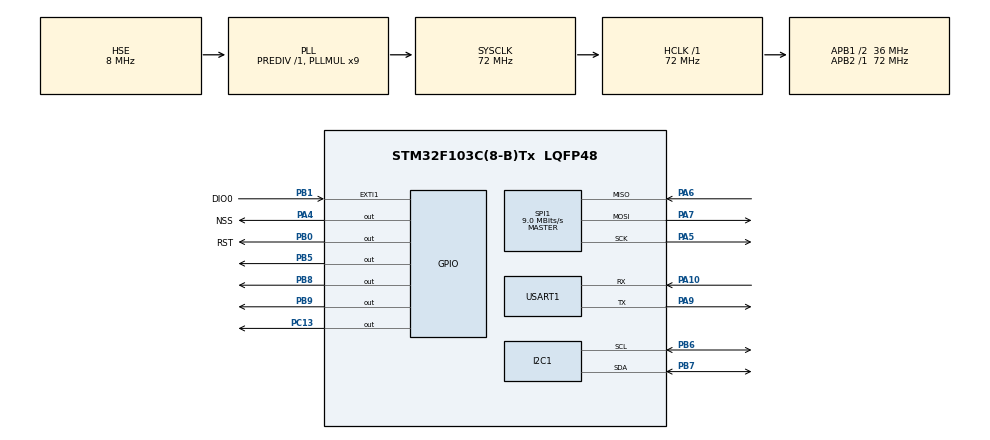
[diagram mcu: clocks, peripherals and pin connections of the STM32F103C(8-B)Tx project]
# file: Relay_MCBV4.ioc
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FREERTOS.BinarySemaphores01=myBinarySem01,Dynamic,NULL,Available
FREERTOS.Queues01=myQueue01,9,uint8_t,0,Dynamic,NULL,NULL
FREERTOS.Tasks01=defaultTask,0,128,StartDefaultTask,Default,NULL,Dynamic,NULL,NULL;myTask03,2,256,StartTask03,Default,NULL,Dynamic,NULL,NULL
Mcu.Family=STM32F1
Mcu.Name=STM32F103C(8-B)Tx
Mcu.Package=LQFP48
NVIC.EXTI1_IRQn=true\:5\:0\:false\:false\:true\:true\:true\:true\:true
NVIC.PriorityGroup=NVIC_PRIORITYGROUP_4
NVIC.USART1_IRQn=true\:5\:0\:false\:false\:true\:true\:true\:true\:true
PA10.Mode=Asynchronous
PA10.Signal=USART1_RX
PA13.Mode=Serial_Wire
PA13.Signal=SYS_JTMS-SWDIO
PA14.Mode=Serial_Wire
PA14.Signal=SYS_JTCK-SWCLK
PA4.GPIO_Label=NSS
PA4.PinState=GPIO_PIN_SET
PA4.Signal=GPIO_Output
PA5.Mode=Full_Duplex_Master
PA5.Signal=SPI1_SCK
PA6.Mode=Full_Duplex_Master
PA6.Signal=SPI1_MISO
PA7.Mode=Full_Duplex_Master
PA7.Signal=SPI1_MOSI
PA9.Mode=Asynchronous
PA9.Signal=USART1_TX
PB0.GPIO_Label=RST
PB0.PinState=GPIO_PIN_SET
PB0.Signal=GPIO_Output
PB1.GPIO_Label=DIO0
PB1.Signal=GPXTI1
PB5.Signal=GPIO_Output
PB6.Mode=I2C
PB6.Signal=I2C1_SCL
PB7.Mode=I2C
PB7.Signal=I2C1_SDA
PB8.Signal=GPIO_Output
PB9.Signal=GPIO_Output
PC13-TAMPER-RTC.Signal=GPIO_Output
PD0-OSC_IN.Mode=HSE-External-Oscillator
PD0-OSC_IN.Signal=RCC_OSC_IN
PD1-OSC_OUT.Mode=HSE-External-Oscillator
PD1-OSC_OUT.Signal=RCC_OSC_OUT
ProjectManager.HeapSize=0x200
ProjectManager.StackSize=0x400
ProjectManager.TargetToolchain=STM32CubeIDE
RCC.AHBFreq_Value=72000000
RCC.APB1CLKDivider=RCC_HCLK_DIV2
RCC.APB1Freq_Value=36000000
RCC.APB1TimFreq_Value=72000000
RCC.APB2Freq_Value=72000000
RCC.APB2TimFreq_Value=72000000
RCC.HCLKFreq_Value=72000000
RCC.PLLMUL=RCC_PLL_MUL9
RCC.PLLSourceVirtual=RCC_PLLSOURCE_HSE
RCC.SYSCLKFreq_VALUE=72000000
RCC.SYSCLKSource=RCC_SYSCLKSOURCE_PLLCLK
RCC.USBFreq_Value=72000000
SPI1.BaudRatePrescaler=SPI_BAUDRATEPRESCALER_8
SPI1.CalculateBaudRate=9.0 MBits/s
SPI1.Direction=SPI_DIRECTION_2LINES
SPI1.Mode=SPI_MODE_MASTER
SPI1.VirtualType=VM_MASTER
USART1.VirtualMode=VM_ASYNC
VP_FREERTOS_VS_CMSIS_V1.Mode=CMSIS_V1
board=custom

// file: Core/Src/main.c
/* USER CODE BEGIN Header */
/**
  ******************************************************************************
  * @file           : main.c
  * @brief          : Main program body
  ******************************************************************************
  * @attention
  *
  * Copyright (c) 2025 STMicroelectronics.
  * All rights reserved.
  *
  * This software is licensed under terms that can be found in the LICENSE file
  * in the root directory of this software component.
  * If no LICENSE file comes with this software, it is provided AS-IS.
  *
  ******************************************************************************
  */
/* USER CODE END Header */
#include "main.h"
#include "cmsis_os.h"

/* USER CODE BEGIN Includes */
#include "stdio.h"
#include "string.h"

#include "LoRa.h"
#include "sht2x_for_stm32_hal.h"
/* USER CODE END Includes */

I2C_HandleTypeDef hi2c1;

SPI_HandleTypeDef hspi1;

UART_HandleTypeDef huart1;

osThreadId defaultTaskHandle;
osThreadId myTask03Handle;
osMessageQId myQueue01Handle;
osSemaphoreId myBinarySem01Handle;
/* USER CODE BEGIN PV */
QueueHandle_t Queue02Handle;
QueueHandle_t Queue03Handle;
QueueHandle_t Queue04Handle;
QueueHandle_t Queue05Handle;
QueueHandle_t Queue06Handle;

uint8_t Rx_data;

LoRa myLoRa;
uint8_t LoRa_status;
uint8_t RxBuffer[128];
uint8_t AddrNode = 0x09;
uint8_t AddrGate = 0x25;
uint8_t AddrNet = 0x56;
uint8_t Adv = 0x00;
uint8_t Accepted = 0x01;
uint8_t Ack = 0x02;
uint8_t Send_data = 0x03;
uint8_t RequestJoin = 0x04;
uint8_t RequestData = 0x05;
BaseType_t xHigherPriorityTaskWoken;
#define MAX_BUFFER_SIZE 128
uint8_t Joined = 0;
uint8_t Send = 0;
typedef struct
{
	uint8_t Id;
	float Temp;
}infor_t;

union FloatToBytes {
	float value;
	uint8_t bytes[4];
};
int threshold = 0;
/* USER CODE END PV */

void SystemClock_Config(void);
static void MX_GPIO_Init(void);
static void MX_I2C1_Init(void);
static void MX_SPI1_Init(void);
static void MX_USART1_UART_Init(void);
void StartDefaultTask(void const * argument);
void StartTask03(void const * argument);

/* USER CODE BEGIN 0 */
#ifdef __GNUC__
#define PUTCHAR_PROTOTYPE int __io_putchar(int ch)
#else
#define PUTCHAR_PROTOTYPE int fputc(int ch, FILE *f)
#endif

PUTCHAR_PROTOTYPE
{
	HAL_UART_Transmit(&huart1, (uint8_t *)&ch, 1, HAL_MAX_DELAY);
	return ch;
}
// Chuyển đổi int thành 2 byte (uint8_t)
void int_to_2uint8(int value, uint8_t *high_byte, uint8_t *low_byte) {
    *low_byte = value & 0xFF;          // Byte thấp
    *high_byte = (value >> 8) & 0xFF;  // Byte cao
}

// Chuyển đổi 2 byte (uint8_t) thành int
int uint8_to_int(uint8_t high_byte, uint8_t low_byte) {
    int result = (high_byte << 8) | low_byte; // Kết hợp hai byte
    if (high_byte & 0x80) { // Kiểm tra bit dấu (nếu high_byte >= 128)
        result -= 0x10000;  // �?i�?u chỉnh cho số âm
    }
    return result;
}
/* USER CODE END 0 */

int main(void)
{

  /* MCU Configuration--------------------------------------------------------*/

  /* Reset of all peripherals, Initializes the Flash interface and the Systick. */
  HAL_Init();

  /* Configure the system clock */
  SystemClock_Config();

  /* Initialize all configured peripherals */
  MX_GPIO_Init();
  MX_I2C1_Init();
  MX_SPI1_Init();
  MX_USART1_UART_Init();
  /* USER CODE BEGIN 2 */
  myLoRa = newLoRa();
      	myLoRa.CS_port 		= NSS_GPIO_Port;
      	myLoRa.CS_pin 		= NSS_Pin;
      	myLoRa.reset_port 	= RST_GPIO_Port;
      	myLoRa.reset_pin 	= RST_Pin;
      	myLoRa.DIO0_port 	= DIO0_GPIO_Port;
      	myLoRa.DIO0_pin 	= DIO0_Pin;
      	myLoRa.hSPIx 		= &hspi1;
      	myLoRa.frequency             = 433;             // default = 433 MHz
      	myLoRa.spredingFactor        = SF_9;            // default = SF_7
      	myLoRa.bandWidth             = BW_125KHz;       // default = BW_125KHz
      	myLoRa.crcRate               = CR_4_5;          // default = CR_4_5
      	myLoRa.power                 = POWER_17db;      // default = 20db
      	myLoRa.overCurrentProtection = 130;             // default = 100 mA
      	myLoRa.preamble              = 8;              // default = 8;*/

      	LoRa_setAddr(&myLoRa, AddrNode);
  	if(LoRa_init(&myLoRa) == LORA_OK)
  		LoRa_status = 1;
  	printf("Khoi tao LoRa thanh cong\n");

  	LoRa_startReceiving(&myLoRa);
  	SHT2x_Init(&hi2c1);
  	SHT2x_SetResolution(RES_14_12);
  	printf("Khoi tao sensor thanh cong\n");

  	HAL_UART_Receive_IT(&huart1, &Rx_data, 1);
  /* USER CODE END 2 */

  /* Create the semaphores(s) */
  /* definition and creation of myBinarySem01 */
  osSemaphoreDef(myBinarySem01);
  myBinarySem01Handle = osSemaphoreCreate(osSemaphore(myBinarySem01), 1);

  /* Create the queue(s) */
  /* definition and creation of myQueue01 */
  osMessageQDef(myQueue01, 9, uint8_t);
  myQueue01Handle = osMessageCreate(osMessageQ(myQueue01), NULL);

  /* USER CODE BEGIN RTOS_QUEUES */
  Queue02Handle = xQueueCreate(10, sizeof(uint8_t)*10);
  Queue03Handle = xQueueCreate(10, sizeof(uint8_t) * 8);
  Queue04Handle = xQueueCreate(10, sizeof(uint8_t) * 8);
  Queue05Handle = xQueueCreate(10, sizeof(uint8_t) * 8);
  Queue06Handle = xQueueCreate(1, sizeof(uint8_t) * 4);

  /* add queues, ... */
  /* USER CODE END RTOS_QUEUES */

  /* Create the thread(s) */
  /* definition and creation of defaultTask */
  osThreadDef(defaultTask, StartDefaultTask, osPriorityNormal, 0, 128);
  defaultTaskHandle = osThreadCreate(osThread(defaultTask), NULL);

  /* definition and creation of myTask03 */
  osThreadDef(myTask03, StartTask03, osPriorityHigh, 0, 256);
  myTask03Handle = osThreadCreate(osThread(myTask03), NULL);

  /* Start scheduler */
  osKernelStart();

  /* We should never get here as control is now taken by the scheduler */

  /* Infinite loop */
  while (1)
  {

  }
}

void SystemClock_Config(void)
{
  RCC_OscInitTypeDef RCC_OscInitStruct = {0};
  RCC_ClkInitTypeDef RCC_ClkInitStruct = {0};

  /** Initializes the RCC Oscillators according to the specified parameters
  * in the RCC_OscInitTypeDef structure.
  */
  RCC_OscInitStruct.OscillatorType = RCC_OSCILLATORTYPE_HSE;
  RCC_OscInitStruct.HSEState = RCC_HSE_ON;
  RCC_OscInitStruct.HSEPredivValue = RCC_HSE_PREDIV_DIV1;
  RCC_OscInitStruct.HSIState = RCC_HSI_ON;
  RCC_OscInitStruct.PLL.PLLState = RCC_PLL_ON;
  RCC_OscInitStruct.PLL.PLLSource = RCC_PLLSOURCE_HSE;
  RCC_OscInitStruct.PLL.PLLMUL = RCC_PLL_MUL9;
  if (HAL_RCC_OscConfig(&RCC_OscInitStruct) != HAL_OK)
  {
    Error_Handler();
  }

  /** Initializes the CPU, AHB and APB buses clocks
  */
  RCC_ClkInitStruct.ClockType = RCC_CLOCKTYPE_HCLK|RCC_CLOCKTYPE_SYSCLK
                              |RCC_CLOCKTYPE_PCLK1|RCC_CLOCKTYPE_PCLK2;
  RCC_ClkInitStruct.SYSCLKSource = RCC_SYSCLKSOURCE_PLLCLK;
  RCC_ClkInitStruct.AHBCLKDivider = RCC_SYSCLK_DIV1;
  RCC_ClkInitStruct.APB1CLKDivider = RCC_HCLK_DIV2;
  RCC_ClkInitStruct.APB2CLKDivider = RCC_HCLK_DIV1;

  if (HAL_RCC_ClockConfig(&RCC_ClkInitStruct, FLASH_LATENCY_2) != HAL_OK)
  {
    Error_Handler();
  }
}

static void MX_I2C1_Init(void)
{

  hi2c1.Instance = I2C1;
  hi2c1.Init.ClockSpeed = 100000;
  hi2c1.Init.DutyCycle = I2C_DUTYCYCLE_2;
  hi2c1.Init.OwnAddress1 = 0;
  hi2c1.Init.AddressingMode = I2C_ADDRESSINGMODE_7BIT;
  hi2c1.Init.DualAddressMode = I2C_DUALADDRESS_DISABLE;
  hi2c1.Init.OwnAddress2 = 0;
  hi2c1.Init.GeneralCallMode = I2C_GENERALCALL_DISABLE;
  hi2c1.Init.NoStretchMode = I2C_NOSTRETCH_DISABLE;
  if (HAL_I2C_Init(&hi2c1) != HAL_OK)
  {
    Error_Handler();
  }

}

static void MX_SPI1_Init(void)
{

  /* SPI1 parameter configuration*/
  hspi1.Instance = SPI1;
  hspi1.Init.Mode = SPI_MODE_MASTER;
  hspi1.Init.Direction = SPI_DIRECTION_2LINES;
  hspi1.Init.DataSize = SPI_DATASIZE_8BIT;
  hspi1.Init.CLKPolarity = SPI_POLARITY_LOW;
  hspi1.Init.CLKPhase = SPI_PHASE_1EDGE;
  hspi1.Init.NSS = SPI_NSS_SOFT;
  hspi1.Init.BaudRatePrescaler = SPI_BAUDRATEPRESCALER_8;
  hspi1.Init.FirstBit = SPI_FIRSTBIT_MSB;
  hspi1.Init.TIMode = SPI_TIMODE_DISABLE;
  hspi1.Init.CRCCalculation = SPI_CRCCALCULATION_DISABLE;
  hspi1.Init.CRCPolynomial = 10;
  if (HAL_SPI_Init(&hspi1) != HAL_OK)
  {
    Error_Handler();
  }

}

static void MX_USART1_UART_Init(void)
{

  huart1.Instance = USART1;
  huart1.Init.BaudRate = 115200;
  huart1.Init.WordLength = UART_WORDLENGTH_8B;
  huart1.Init.StopBits = UART_STOPBITS_1;
  huart1.Init.Parity = UART_PARITY_NONE;
  huart1.Init.Mode = UART_MODE_TX_RX;
  huart1.Init.HwFlowCtl = UART_HWCONTROL_NONE;
  huart1.Init.OverSampling = UART_OVERSAMPLING_16;
  if (HAL_UART_Init(&huart1) != HAL_OK)
  {
    Error_Handler();
  }

}

static void MX_GPIO_Init(void)
{
  GPIO_InitTypeDef GPIO_InitStruct = {0};

  /* GPIO Ports Clock Enable */
  __HAL_RCC_GPIOC_CLK_ENABLE();
  __HAL_RCC_GPIOD_CLK_ENABLE();
  __HAL_RCC_GPIOA_CLK_ENABLE();
  __HAL_RCC_GPIOB_CLK_ENABLE();

  /*Configure GPIO pin Output Level */
  HAL_GPIO_WritePin(GPIOC, GPIO_PIN_13, GPIO_PIN_RESET);

  /*Configure GPIO pin Output Level */
  HAL_GPIO_WritePin(NSS_GPIO_Port, NSS_Pin, GPIO_PIN_SET);

  /*Configure GPIO pin Output Level */
  HAL_GPIO_WritePin(RST_GPIO_Port, RST_Pin, GPIO_PIN_SET);

  /*Configure GPIO pin Output Level */
  HAL_GPIO_WritePin(GPIOB, GPIO_PIN_5|GPIO_PIN_8|GPIO_PIN_9, GPIO_PIN_RESET);

  /*Configure GPIO pin : PC13 */
  GPIO_InitStruct.Pin = GPIO_PIN_13;
  GPIO_InitStruct.Mode = GPIO_MODE_OUTPUT_PP;
  GPIO_InitStruct.Pull = GPIO_NOPULL;
  GPIO_InitStruct.Speed = GPIO_SPEED_FREQ_LOW;
  HAL_GPIO_Init(GPIOC, &GPIO_InitStruct);

  /*Configure GPIO pin : NSS_Pin */
  GPIO_InitStruct.Pin = NSS_Pin;
  GPIO_InitStruct.Mode = GPIO_MODE_OUTPUT_PP;
  GPIO_InitStruct.Pull = GPIO_NOPULL;
  GPIO_InitStruct.Speed = GPIO_SPEED_FREQ_LOW;
  HAL_GPIO_Init(NSS_GPIO_Port, &GPIO_InitStruct);

  /*Configure GPIO pins : RST_Pin PB5 PB8 PB9 */
  GPIO_InitStruct.Pin = RST_Pin|GPIO_PIN_5|GPIO_PIN_8|GPIO_PIN_9;
  GPIO_InitStruct.Mode = GPIO_MODE_OUTPUT_PP;
  GPIO_InitStruct.Pull = GPIO_NOPULL;
  GPIO_InitStruct.Speed = GPIO_SPEED_FREQ_LOW;
  HAL_GPIO_Init(GPIOB, &GPIO_InitStruct);

  /*Configure GPIO pin : DIO0_Pin */
  GPIO_InitStruct.Pin = DIO0_Pin;
  GPIO_InitStruct.Mode = GPIO_MODE_IT_RISING;
  GPIO_InitStruct.Pull = GPIO_NOPULL;
  HAL_GPIO_Init(DIO0_GPIO_Port, &GPIO_InitStruct);

  /* EXTI interrupt init*/
  HAL_NVIC_SetPriority(EXTI1_IRQn, 5, 0);
  HAL_NVIC_EnableIRQ(EXTI1_IRQn);

}

/* USER CODE BEGIN 4 */
void HAL_GPIO_EXTI_Callback(uint16_t GPIO_Pin)
{
	xHigherPriorityTaskWoken = pdFALSE;
	uint8_t ISR_data = 0x32;
	//char output[length + 1];
	if(GPIO_Pin == DIO0_Pin)
	{
		LoRa_receive(&myLoRa, &RxBuffer, 128);
		printf("%02X %02X %02X %02X", RxBuffer[0], RxBuffer[1], RxBuffer[2],RxBuffer[3]);
		if ((RxBuffer[0] == Adv) ||
		    (RxBuffer[0] == Accepted && Joined == 0) ||
		    RxBuffer[0] == Ack || RxBuffer[0] == RequestData) {
		    if (RxBuffer[0] == Adv) {
		        printf("Nhan quang ba tu GW\n");
		        xQueueSendFromISR(Queue02Handle, &RxBuffer, &xHigherPriorityTaskWoken);
		    } else if (RxBuffer[0] == Accepted && RxBuffer[2] == AddrNode && Joined == 0) {
		        printf("GW cho phep vao mang, gui nhiet do di\n");
		        xQueueSendFromISR(Queue03Handle, &RxBuffer, &xHigherPriorityTaskWoken);
		    } else if (RxBuffer[0] == RequestData && RxBuffer[1] == AddrGate && RxBuffer[2] == AddrNode && RxBuffer[3] == AddrNet && Joined == 1)
		    {
		    	printf("GW yeu cau gui du lieu\n");
		    	xQueueSendFromISR(Queue02Handle, &RxBuffer, &xHigherPriorityTaskWoken);
		    }else if (RxBuffer[0] == Ack && RxBuffer[1] == AddrGate && RxBuffer[2] == AddrNode && Joined == 1)
		    {
		    	printf("GW da nhan duoc du lieu\n");
		    	xQueueSendFromISR(Queue05Handle, &RxBuffer, &xHigherPriorityTaskWoken);
		    }
		    HAL_GPIO_TogglePin(GPIOB, GPIO_PIN_8);
//		    HAL_GPIO_TogglePin(GPIOB, GPIO_PIN_5);
		    //xQueueSendFromISR(Queue02Handle, &RxBuffer, &xHigherPriorityTaskWoken);
		}

		//osSemaphoreRelease(myBinarySem01Handle);
		//xQueueSendFromISR(Queue02Handle, (void *) &output, &xHigherPriorityTaskWoken);
		portYIELD_FROM_ISR(xHigherPriorityTaskWoken);
//		if(RxBuffer[1] == 0x01)
//		{
//			Addr = RxBuffer[3];
//			AddrNet = RxBuffer[2];
//			memset(RxBuffer, 0, sizeof(RxBuffer));
//		}
	}
}
/* USER CODE END 4 */

void StartDefaultTask(void const * argument)
{
  /* USER CODE BEGIN 5 */
	uint32_t Task_data = 1999;
		char temp_str[16];
		float temp ;
		float rh ;
		osEvent Recv_Task_data;
		union FloatToBytes dataConverter;
		uint8_t Test[4];
		uint8_t Remove[4];
  /* Infinite loop */
  for(;;)
  {
	  temp = SHT2x_GetTemperature(1);
	  temp = roundf(temp * 100) / 100.0;
	  dataConverter.value = temp;
	  for (int i = 0; i < 4; i++)
		  Test[i]=dataConverter.bytes[i];
	  //rh = SHT2x_GetRelativeHumidity(1);
	  //snprintf(temp_str, sizeof(temp_str), "Temp: %.4f", (double)temp);
	  if (threshold > 0 && temp > (float)threshold)
	  {
		  HAL_GPIO_WritePin(GPIOB, GPIO_PIN_5, GPIO_PIN_SET);
		  printf("Hello------------------------------\n");
	  }else{
		  HAL_GPIO_WritePin(GPIOB, GPIO_PIN_5, GPIO_PIN_RESET);
	  }
	  printf("Send data from TASK\n");
	  //osMessagePut(myQueue01Handle, Task_data, 10);
//	  if (osMessagePut(myQueue01Handle, temp, 10) == osOK)
//	  {
//		  printf("Gui vao hang doi thanh cong nhiet do");
//	  }else {
//		 Recv_Task_data = osMessageGet(myQueue01Handle, 5);
//		 osMessagePut(myQueue01Handle, temp, 10);
//	  }
	  if(xQueueSend(Queue06Handle, &Test, 100) != pdTRUE)
	  {
		  xQueueReceive(Queue06Handle, &Remove, 0);
		  xQueueSend(Queue06Handle, &Test, 100);
	  }else{
		  printf("Gui vao hang doi thanh cong\n");
	  }
    osDelay(5000);
  }
  /* USER CODE END 5 */
}

void StartTask03(void const * argument)
{
  /* USER CODE BEGIN StartTask03 */
	uint8_t Recv_ISR_data[56];
	uint8_t BuffTx[56];
	uint8_t request_count = 0;   //�?ếm số lần gửi request
	uint8_t send_count = 0;   //�?ếm số lần gửi data
	//osEvent Recv_Task_data;
	uint8_t Recv_Task_data[4];
	TickType_t start;
	TickType_t end;
	const TickType_t delay = pdMS_TO_TICKS(23000);
	union FloatToBytes dataConverter;
	uint8_t Highthres, Lowthres;
  /* Infinite loop */
  for(;;)
  {
	  //printf("Waiting data from ISR\n");
	  //osSemaphoreWait(myBinarySem01Handle, osWaitForever);
//	  xQueueReceive(Queue02Handle, &Recv_ISR_data, osWaitForever);
//	  if(Recv_ISR_data[0] == 0x00 && Joined == 0)
//	  {
//		  BuffTx[0] = 0x04;
//		  BuffTx[1] = AddrNode;
//		  // Gui ban tin Request
//		  LoRa_transmit(&myLoRa, &BuffTx, 2, 200);
//		  printf("Da gui Request tham gia mang\n");
//	  }else if(Recv_ISR_data[0] == 0x01)
//	  {
//		  Joined == 1;
//		  printf("Da Join mang, bat dau gui du lieu");
//	  }
	  if (xQueueReceive(Queue02Handle, &Recv_ISR_data, pdMS_TO_TICKS(2000)) == pdTRUE)
	  {
		  printf("%02X %02X %02X %02X %02X\n", Recv_ISR_data[0], Recv_ISR_data[1], Recv_ISR_data[2], Recv_ISR_data[3], Recv_ISR_data[4]);
		  if ((Recv_ISR_data[0] == Adv && Joined == 0) || (Joined == 1 && (xTaskGetTickCount()-start) > delay && Recv_ISR_data[0] == Adv)) //Goi tin quang ba
		  {
			  Joined = 0;
			  HAL_GPIO_WritePin(GPIOB, GPIO_PIN_9, GPIO_PIN_RESET);
			  printf("Hello 2 %lu\n", xTaskGetTickCount()- start);
			  printf("Da nhan duoc goi quang ba, bat dau gui Request.\n");
			  // Bat dau gui request trong vong 2 giay
			  TickType_t start_time = xTaskGetTickCount();
			  request_count = 0;
			  //&& (xTaskGetTickCount() - start_time) < pdMS_TO_TICKS(3000)
			  while (request_count < 3 && Joined == 0)
			  {
				  BuffTx[0] = RequestJoin;
				  BuffTx[1] = AddrNode;
				  //Gui Request tham gia mang

				  LoRa_transmit(&myLoRa, &BuffTx, 2, 200);
				  printf("Da gui Request tham gia mang lan %d\n", request_count + 1);

				  request_count ++;  //Tang so lần gửi request

				  //Ch�? ngắt ISR trong 600ms hoặc đến khi hết 2 giây
				  if(xQueueReceive(Queue03Handle, &Recv_ISR_data, pdMS_TO_TICKS(1000)) == pdTRUE)
				  {
					  Joined = 1; //�?ánh dấu đã tham gia mạng
					  //start = xTaskGetTickCount();
					  AddrGate = Recv_ISR_data[1];
					  AddrNet = Recv_ISR_data[3];
					  threshold = Recv_ISR_data[4];
					  printf("Da joined mang, khong gui request nua.\n");
					  HAL_GPIO_WritePin(GPIOB, GPIO_PIN_9, GPIO_PIN_SET);
					  request_count = 0;
					  break;
				  }
				  else
				  {
					  printf("Khong nhan duoc thong tin goi trong thoi gian cho\n");
				  }
			  }

		  }else if (Recv_ISR_data[0] == RequestData && Joined == 1)
		  {
			  printf("GW yeu cau gui data\n");
			  // Bat dau gui data trong vong 4 giay
			  //TickType_t start_time = xTaskGetTickCount();
			  //&& (xTaskGetTickCount() - start_time) < pdMS_TO_TICKS(3000)
			  Highthres = Recv_ISR_data[4];
			  Lowthres = Recv_ISR_data[5];
			  threshold = uint8_to_int(Highthres, Lowthres);
			  printf("Da cap nhat nguong %d\n", threshold);
			  //HAL_GPIO_TogglePin(GPIOB, GPIO_PIN_9);
			  send_count = 0;
			  while (send_count < 3)
			  {
				  //Recv_Task_data = osMessageGet(myQueue01Handle, pdMS_TO_TICKS(1000));
				  xQueueReceive(Queue06Handle, &Recv_Task_data, pdMS_TO_TICKS(1000));
				  //dataConverter.value = (float)Recv_Task_data.value.v;
				  for (int i = 0; i < 4; i++)
					  printf("Hello 2 %02X", Recv_Task_data[i]);
				  BuffTx[0] = Send_data;
				  BuffTx[1] = AddrNode;
				  BuffTx[2] = AddrGate;
				  BuffTx[3] = AddrNet;
				  BuffTx[4] = Recv_Task_data[0];
				  BuffTx[5] = Recv_Task_data[1];
				  BuffTx[6] = Recv_Task_data[2];
				  BuffTx[7] = Recv_Task_data[3];
				  //printf("%02X %02X", BuffTx[4], BuffTx[5]);

				  //Gui Request tham gia mang

				  LoRa_transmit(&myLoRa, &BuffTx, 8, 200);
				  printf("Da gui data lan %d\n", send_count + 1);

				  send_count ++;  //Tang so lần gửi data
				  osDelay(pdMS_TO_TICKS(1000));

				  //Ch�? ngắt ISR trong 600ms hoặc đến khi hết 2 giây
				  if(xQueueReceive(Queue05Handle, &Recv_ISR_data, pdMS_TO_TICKS(1000)) == pdTRUE)
				  {
					  printf("GW nhan du lieu thanh cong\n");
					  start = xTaskGetTickCount();
					  printf("Hello 1 %lu\n", start);
					  printf("%lu", start);
					  send_count = 0;
					  break;
				  }
				  else
				  {
					  printf("Khong nhan duoc thong tin goi trong thoi gian cho\n");
					  if (send_count == 3)
					  {
						  Joined = 0;
						  printf("Da bi out khoi mang");
						  send_count = 0;
						  break;
					  }
				  }
				  }
			  }
		  }
	  //printf("Da nhan\n");
    osDelay(100);
  }
  /* USER CODE END StartTask03 */
}

void Error_Handler(void)
{
  __disable_irq();
  while (1)
  {
  }
}
